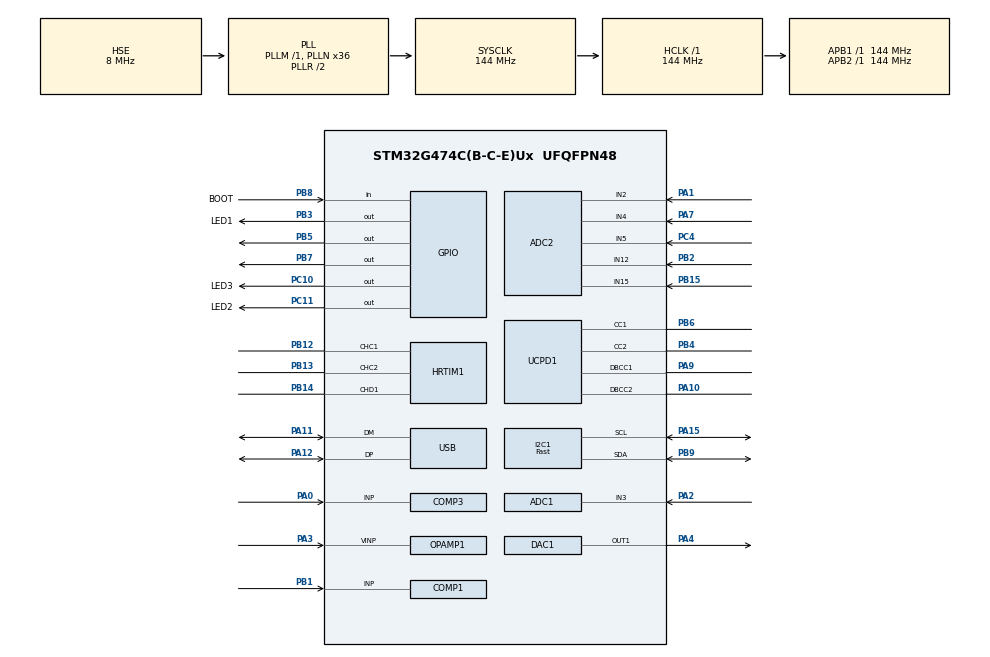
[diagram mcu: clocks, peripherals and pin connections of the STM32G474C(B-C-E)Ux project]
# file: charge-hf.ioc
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ADC1.Channel-1\#ChannelRegularConversion=ADC_CHANNEL_3
ADC1.ClockPrescaler=ADC_CLOCK_ASYNC_DIV4
ADC1.EnableInjectedConversion=DISABLE
ADC1.NbrOfConversionFlag=1
ADC1.OffsetNumber-1\#ChannelRegularConversion=ADC_OFFSET_NONE
ADC1.Rank-1\#ChannelRegularConversion=1
ADC1.SamplingTime-1\#ChannelRegularConversion=ADC_SAMPLETIME_2CYCLES_5
ADC1.master=1
ADC2.Channel-5\#ChannelRegularConversion=ADC_CHANNEL_2
ADC2.Channel-6\#ChannelRegularConversion=ADC_CHANNEL_12
ADC2.Channel-7\#ChannelRegularConversion=ADC_CHANNEL_15
ADC2.Channel-8\#ChannelRegularConversion=ADC_CHANNEL_4
ADC2.Channel-9\#ChannelRegularConversion=ADC_CHANNEL_5
ADC2.ClockPrescaler=ADC_CLOCK_ASYNC_DIV4
ADC2.ContinuousConvMode=ENABLE
ADC2.DMAContinuousRequests=ENABLE
ADC2.EOCSelection=ADC_EOC_SEQ_CONV
ADC2.EnableInjectedConversion=DISABLE
ADC2.EnableRegularConversion=ENABLE
ADC2.NbrOfConversion=5
ADC2.NbrOfConversionFlag=1
ADC2.OffsetNumber-5\#ChannelRegularConversion=ADC_OFFSET_NONE
ADC2.OffsetNumber-6\#ChannelRegularConversion=ADC_OFFSET_NONE
ADC2.OffsetNumber-7\#ChannelRegularConversion=ADC_OFFSET_NONE
ADC2.OffsetNumber-8\#ChannelRegularConversion=ADC_OFFSET_NONE
ADC2.OffsetNumber-9\#ChannelRegularConversion=ADC_OFFSET_NONE
ADC2.Overrun=ADC_OVR_DATA_OVERWRITTEN
ADC2.Rank-5\#ChannelRegularConversion=1
ADC2.Rank-6\#ChannelRegularConversion=2
ADC2.Rank-7\#ChannelRegularConversion=3
ADC2.Rank-8\#ChannelRegularConversion=4
ADC2.Rank-9\#ChannelRegularConversion=5
ADC2.SamplingTime-5\#ChannelRegularConversion=ADC_SAMPLETIME_47CYCLES_5
ADC2.SamplingTime-6\#ChannelRegularConversion=ADC_SAMPLETIME_47CYCLES_5
ADC2.SamplingTime-7\#ChannelRegularConversion=ADC_SAMPLETIME_47CYCLES_5
ADC2.SamplingTime-8\#ChannelRegularConversion=ADC_SAMPLETIME_47CYCLES_5
ADC2.SamplingTime-9\#ChannelRegularConversion=ADC_SAMPLETIME_47CYCLES_5
Dma.ADC2.0.Direction=DMA_PERIPH_TO_MEMORY
Dma.ADC2.0.EventEnable=DISABLE
Dma.ADC2.0.Instance=DMA1_Channel1
Dma.ADC2.0.MemDataAlignment=DMA_MDATAALIGN_HALFWORD
Dma.ADC2.0.MemInc=DMA_MINC_ENABLE
Dma.ADC2.0.Mode=DMA_CIRCULAR
Dma.ADC2.0.PeriphDataAlignment=DMA_PDATAALIGN_HALFWORD
Dma.ADC2.0.PeriphInc=DMA_PINC_DISABLE
Dma.ADC2.0.Polarity=HAL_DMAMUX_REQ_GEN_RISING
Dma.ADC2.0.Priority=DMA_PRIORITY_MEDIUM
Dma.ADC2.0.RequestNumber=1
Dma.ADC2.0.SignalID=NONE
Dma.ADC2.0.SyncEnable=DISABLE
Dma.ADC2.0.SyncPolarity=HAL_DMAMUX_SYNC_NO_EVENT
Dma.ADC2.0.SyncRequestNumber=1
Dma.ADC2.0.SyncSignalID=NONE
Dma.Request0=ADC2
HRTIM1.ADCTrigger1_Source1=HRTIM_ADCTRIGGEREVENT13_TIMERD_CMP3
HRTIM1.ADCTrigger2_Source1=HRTIM_ADCTRIGGEREVENT24_TIMERD_CMP2
HRTIM1.ADCTrigger_Id1=__NULL
HRTIM1.ADCTrigger_Id2=__NULL
HRTIM1.CompareUnit1-Output_TC1TC2=HRTIM_COMPAREUNIT_1
HRTIM1.CompareUnit1-Output_TD1=HRTIM_COMPAREUNIT_1
HRTIM1.CompareUnit2-Output_TD1=__NULL
HRTIM1.CompareUnit3-Output_TD1=__NULL
HRTIM1.CompareValue1-Output_TC1TC2=HF_PERIOD/2
HRTIM1.CompareValue1-Output_TD1=0
HRTIM1.CompareValue2-Output_TD1=127
HRTIM1.CompareValue3-Output_TD1=1023
HRTIM1.Configuration_TC=Waveform
HRTIM1.Configuration_TD=Waveform
HRTIM1.DeadTimeInsertion-Output_TC1TC2=HRTIM_TIMDEADTIMEINSERTION_ENABLED
HRTIM1.Event_EEV1=__NULL
HRTIM1.FallingSignLock-Output_TC1TC2=HRTIM_TIMDEADTIME_FALLINGSIGNLOCK_READONLY
HRTIM1.FallingValue-Output_TC1TC2=hf.DTfalling
HRTIM1.NumberADCTriggerSource1=1
HRTIM1.NumberADCTriggerSource2=1
HRTIM1.NumberResetSource1-Output_TC1TC2=1
HRTIM1.NumberResetSource1-Output_TD1=1
HRTIM1.NumberResetSource2_TC=0
HRTIM1.NumberSetSource1-Output_TC1TC2=1
HRTIM1.NumberSetSource1-Output_TD1=1
HRTIM1.NumberSetSource2_TC=0
HRTIM1.OCChannel_TC1=__NULL
HRTIM1.ORingUpdateSource_ADCTrigger1=HRTIM_ADCTRIGGERUPDATE_TIMER_D
HRTIM1.ORingUpdateSource_ADCTrigger2=HRTIM_ADCTRIGGERUPDATE_TIMER_D
HRTIM1.PWMChannel_TC1=HRTIM_OUTPUT_TC1
HRTIM1.PWMChannel_TC2=HRTIM_OUTPUT_TC2
HRTIM1.PWMChannel_TD1=HRTIM_OUTPUT_TD1
HRTIM1.PWMPulse_TD1=127
HRTIM1.Periode_TC=(144000*32) / (uint32_t)(hf.freq / 1000)
HRTIM1.Periode_TD=SEPIC_PERIOD
HRTIM1.Polarity1-Output_TC1TC2=HRTIM_OUTPUTPOLARITY_HIGH
HRTIM1.Polarity2-Output_TC1TC2=HRTIM_OUTPUTPOLARITY_HIGH
HRTIM1.PreloadEnable-Output_TC1TC2=HRTIM_PRELOAD_ENABLED
HRTIM1.PreloadEnable-Output_TD1=HRTIM_PRELOAD_ENABLED
HRTIM1.PrescalerRatio_TC=HRTIM_PRESCALERRATIO_MUL32
HRTIM1.RepetitionCounter-Output_TD1=127
HRTIM1.RepetitionUpdate-Output_TC1TC2=HRTIM_UPDATEONREPETITION_ENABLED
HRTIM1.RepetitionUpdate-Output_TD1=HRTIM_UPDATEONREPETITION_ENABLED
HRTIM1.ResetOutput1_Source1-Output_TC1TC2=HRTIM_OUTPUTRESET_TIMPER
HRTIM1.ResetOutput1_Source1-Output_TD1=HRTIM_OUTPUTRESET_TIMCMP1
HRTIM1.ResetOutput2_Source1-Output_TC1TC2=HRTIM_OUTPUTRESET_TIMCMP1
HRTIM1.RisingSignLock-Output_TC1TC2=HRTIM_TIMDEADTIME_RISINGSIGNLOCK_READONLY
HRTIM1.RisingValue-Output_TC1TC2=hf.DTrising
HRTIM1.SetOutput1_Source1-Output_TC1TC2=HRTIM_OUTPUTSET_TIMCMP1
HRTIM1.SetOutput1_Source1-Output_TD1=HRTIM_OUTPUTSET_TIMPER
HRTIM1.SetOutput2_Source1-Output_TC1TC2=HRTIM_OUTPUTSET_TIMPER
I2C1.I2C_Speed_Mode=I2C_Fast
I2C1.Timing=0x00E057FD
Mcu.Family=STM32G4
Mcu.Name=STM32G474C(B-C-E)Ux
Mcu.Package=UFQFPN48
NVIC.DMA1_Channel1_IRQn=true\:0\:0\:false\:false\:true\:false\:true
NVIC.HRTIM1_TIMD_IRQn=true\:0\:0\:false\:false\:true\:true\:true
NVIC.PriorityGroup=NVIC_PRIORITYGROUP_4
OPAMP1.PgaGain=OPAMP_PGA_GAIN_16_OR_MINUS_15
OPAMP1.PowerMode=OPAMP_POWERMODE_HIGHSPEED
PA0.Mode=INP
PA0.Signal=COMP3_INP
PA1.Mode=IN2-Single-Ended
PA1.Signal=ADC2_IN2
PA10.Mode=EnableDeadBattery
PA10.Signal=UCPD1_DBCC2
PA11.Mode=Device
PA11.Signal=USB_DM
PA12.Mode=Device
PA12.Signal=USB_DP
PA13.Mode=Serial_Wire
PA13.Signal=SYS_JTMS-SWDIO
PA14.Mode=Serial_Wire
PA14.Signal=SYS_JTCK-SWCLK
PA15.Mode=I2C
PA15.Signal=I2C1_SCL
PA2.Mode=IN3-Single-Ended
PA2.Signal=ADC1_IN3
PA3.Mode=PGA_Internally_Connected
PA3.Signal=OPAMP1_VINP
PA4.Signal=COMP_DAC11_group
PA7.Mode=IN4-Single-Ended
PA7.Signal=ADC2_IN4
PA9.Mode=EnableDeadBattery
PA9.Signal=UCPD1_DBCC1
PB1.Mode=INP
PB1.Signal=COMP1_INP
PB12.Mode=Output_TC1TC2
PB12.Signal=HRTIM1_CHC1
PB13.Mode=Output_TC1TC2
PB13.Signal=HRTIM1_CHC2
PB14.Mode=Output_TD1
PB14.Signal=HRTIM1_CHD1
PB15.Mode=IN15-Single-Ended
PB15.Signal=ADC2_IN15
PB2.Mode=IN12-Single-Ended
PB2.Signal=ADC2_IN12
PB3.GPIO_Label=LED1
PB3.Signal=GPIO_Output
PB4.Mode=Sink_AllSignals
PB4.Signal=UCPD1_CC2
PB5.Signal=GPIO_Output
PB6.Mode=Sink_AllSignals
PB6.Signal=UCPD1_CC1
PB7.Signal=GPIO_Output
PB8-BOOT0.GPIO_Label=BOOT
PB8-BOOT0.Signal=GPIO_Input
PB9.Mode=I2C
PB9.Signal=I2C1_SDA
PC10.GPIO_Label=LED3
PC10.Signal=GPIO_Output
PC11.GPIO_Label=LED2
PC11.Signal=GPIO_Output
PC4.Mode=IN5-Single-Ended
PC4.Signal=ADC2_IN5
PF0-OSC_IN.Mode=HSE-External-Oscillator
PF0-OSC_IN.Signal=RCC_OSC_IN
PF1-OSC_OUT.Mode=HSE-External-Oscillator
PF1-OSC_OUT.Signal=RCC_OSC_OUT
ProjectManager.HeapSize=0x200
ProjectManager.StackSize=0x400
ProjectManager.TargetToolchain=Makefile
RCC.ADC12Freq_Value=144000000
RCC.ADC345Freq_Value=144000000
RCC.AHBFreq_Value=144000000
RCC.APB1Freq_Value=144000000
RCC.APB1TimFreq_Value=144000000
RCC.APB2Freq_Value=144000000
RCC.APB2TimFreq_Value=144000000
RCC.CortexFreq_Value=144000000
RCC.EXTERNAL_CLOCK_VALUE=12288000
RCC.HCLKFreq_Value=144000000
RCC.HSE_VALUE=8000000
RCC.HSI48_VALUE=48000000
RCC.HSI_VALUE=16000000
RCC.LSE_VALUE=32768
RCC.PLLN=36
RCC.PLLQ=RCC_PLLQ_DIV6
RCC.PLLSourceVirtual=RCC_PLLSOURCE_HSE
RCC.SYSCLKFreq_VALUE=144000000
RCC.SYSCLKSource=RCC_SYSCLKSOURCE_PLLCLK
RCC.USBFreq_Value=48000000
RCC.VCOOutputFreq_Value=288000000
SH.COMP_DAC11_group.0=DAC1_OUT1,DAC_OUT1_ExtAndInt
VP_ADC1_OPAMP_INTERNAL1.Mode=IN-OPAMP1
VP_COMP1_VS_DAC1OUT1.Mode=INM_DAC1OUT1
VP_COMP3_VS_DAC3OUT1.Mode=INM_DAC3OUT1
VP_DAC3_VS_DACI1.Mode=DAC_OUT1_Int
VP_SYS_VS_DBSignals.Mode=DisableDeadBatterySignals
VREF+.Mode=InternalMode
VREF+.Signal=VREFBUF_OUT
board=custom

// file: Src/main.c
/* USER CODE BEGIN Header */
/**
  ******************************************************************************
  * @file           : main.c
  * @brief          : Main program body
  ******************************************************************************
  * @attention
  *
  * <h2><center>&copy; Copyright (c) 2021 STMicroelectronics.
  * All rights reserved.</center></h2>
  *
  * This software component is licensed by ST under BSD 3-Clause license,
  * the "License"; You may not use this file except in compliance with the
  * License. You may obtain a copy of the License at:
  *                        opensource.org/licenses/BSD-3-Clause
  *
  ******************************************************************************
  */
/* USER CODE END Header */

#include "main.h"

/* USER CODE BEGIN Includes */
#include "stm32g4xx_ll_hrtim.h"
#include <stdio.h>
#include <stdlib.h>
#include <string.h>
#include "usb_device.h"
/* USER CODE END Includes */

ADC_HandleTypeDef hadc1;
ADC_HandleTypeDef hadc2;
DMA_HandleTypeDef hdma_adc2;

COMP_HandleTypeDef hcomp1;
COMP_HandleTypeDef hcomp3;

DAC_HandleTypeDef hdac1;
DAC_HandleTypeDef hdac3;

HRTIM_HandleTypeDef hhrtim1;

I2C_HandleTypeDef hi2c1;

OPAMP_HandleTypeDef hopamp1;

PCD_HandleTypeDef hpcd_USB_FS;

/* USER CODE BEGIN PV */
/* SCPI bbuffer */
extern uint8_t UserRxBufferFS[APP_RX_DATA_SIZE];
extern uint8_t UserTxBufferFS[APP_TX_DATA_SIZE];
uint8_t is_new_data_ready;
uint16_t new_data_length;

volatile sepic_control_t sepic = {
  .Vset = 5.0, // 5V amplifier supply
  .Iset = 2.0  // 3A USB current limit
};

volatile knobs_t knobs;

volatile hf_control_t hf = {
  .freq = 6780000,  // 6.78 MHz
  .DTrising = 16, // rising deadtime, 0 - 511
  .DTfalling = 16 // falling deadtime, 0 - 511
};

uint16_t adc2_regular_buf[6];

/* USER CODE END PV */

void SystemClock_Config(void);
static void MX_GPIO_Init(void);
static void MX_DMA_Init(void);
static void MX_ADC1_Init(void);
static void MX_ADC2_Init(void);
static void MX_COMP1_Init(void);
static void MX_COMP3_Init(void);
static void MX_DAC1_Init(void);
static void MX_DAC3_Init(void);
static void MX_HRTIM1_Init(void);
static void MX_I2C1_Init(void);
static void MX_OPAMP1_Init(void);
static void MX_UCPD1_Init(void);
static void MX_USB_PCD_Init(void);

/* USER CODE BEGIN 0 */
void HAL_HRTIM_RepetitionEventCallback(HRTIM_HandleTypeDef * hhrtim, uint32_t TimerIdx) {
  if (TimerIdx == HRTIM_TIMERINDEX_TIMER_D) {
    //sepic.Icycle = (adc2_regular_buf[0] * VDDA)/0xFFF;
    //sepic.Icycle = sepic.Icycle / (0.01 * 64.0); // 10m sense, OPAMP2 64 Gain

    sepic.Vout = (adc2_regular_buf[0] * VDDA)/0xFFF;
    sepic.Vout = (sepic.Vout / (5100.0 / (100000.0 + 5100.0))) * 1.207; // 100k by 5k1 divider

    sepic.Iin = (adc2_regular_buf[1] * VDDA)/0xFFF;
    sepic.Iin = sepic.Iin / (0.01 * (2000.0 / 33.0)); // Si8540, 10m sense, 2k Rout, 33R Rg

    sepic.Vin = (adc2_regular_buf[2] * VDDA)/0xFFF;
    sepic.Vin = sepic.Vin / (5100.0 / (5100.0 + 5100.0)); // 5k1 by 5k1 divider

    float PID_I = 2.2;

    if (sepic.Iin < sepic.Iset) {
      sepic.error += (sepic.Vset - sepic.Vout) * PID_I;
    } else {
      sepic.error += (sepic.Iset - sepic.Iin) * 1000.0;
    }

    if (sepic.error < 0) {
      sepic.error = 0;
    } else if (sepic.error > 16000) {
      sepic.error = 16000;
    }
    uint32_t compare = sepic.error + 100;
    //if (sepic.Iin > sepic.Iset) {
    //  LL_HRTIM_TIM_SetCompare1(HRTIM1, LL_HRTIM_TIMER_D, 100);
    //} else
    if (compare < (SEPIC_PERIOD * 0.9f) && compare > 100) {
      LL_HRTIM_TIM_SetCompare1(HRTIM1, LL_HRTIM_TIMER_D, compare);
    }
  }
}

/* USER CODE END 0 */

int main(void)
{

  /* MCU Configuration--------------------------------------------------------*/

  /* Reset of all peripherals, Initializes the Flash interface and the Systick. */
  HAL_Init();

  /* Configure the system clock */
  SystemClock_Config();

  /* Initialize all configured peripherals */
  MX_GPIO_Init();
  MX_DMA_Init();
  MX_ADC1_Init();
  MX_ADC2_Init();
  MX_COMP1_Init();
  MX_COMP3_Init();
  MX_DAC1_Init();
  MX_DAC3_Init();
  MX_HRTIM1_Init();
  MX_I2C1_Init();
  MX_OPAMP1_Init();
  MX_UCPD1_Init();
  MX_USB_PCD_Init();
  /* USER CODE BEGIN 2 */
  MX_USB_Device_Init();

  SCPI_Init(&scpi_context,
      scpi_commands,
      &scpi_interface,
      scpi_units_def,
      SCPI_IDN1, SCPI_IDN2, SCPI_IDN3, SCPI_IDN4,
      scpi_input_buffer, SCPI_INPUT_BUFFER_LENGTH,
      scpi_error_queue_data, SCPI_ERROR_QUEUE_SIZE);

  /* Run the ADC2 calibration in single-ended mode */
  HAL_ADCEx_Calibration_Start(&hadc2, ADC_SINGLE_ENDED);

  /* Start ADC2 Injected Conversions */
  HAL_ADCEx_InjectedStart(&hadc2);

  /* HRTIM start-up */
  /* Enable HRTIM's outputs TC1, TC2 and TD1 */
  LL_HRTIM_EnableOutput(HRTIM1,
                          LL_HRTIM_OUTPUT_TC1
                        | LL_HRTIM_OUTPUT_TC2
                        | LL_HRTIM_OUTPUT_TD1);

  //LL_HRTIM_EnableIT_REP(HRTIM1, LL_HRTIM_TIMER_C);
  LL_HRTIM_EnableIT_REP(HRTIM1, LL_HRTIM_TIMER_D);
  LL_HRTIM_TIM_CounterEnable(HRTIM1, LL_HRTIM_TIMER_C);
  LL_HRTIM_TIM_CounterEnable(HRTIM1, LL_HRTIM_TIMER_D);

  //LL_HRTIM_TIM_SetCompare1(HRTIM1, LL_HRTIM_TIMER_D, SEPIC_PERIOD/2);

  HAL_ADC_Start_DMA(&hadc2, (uint32_t *)adc2_regular_buf, 5);

  /* USER CODE END 2 */

  /* Infinite loop */
  /* USER CODE BEGIN WHILE */

  HAL_GPIO_WritePin(LED3_GPIO_Port, LED3_Pin, 1);
  uint32_t i = 0;
  while (1)
  {
    i++;
    if (i % 100000 == 0) {
      knobs.knob1 = (adc2_regular_buf[3] * VDDA)/0xFFF;
      knobs.knob2 = (adc2_regular_buf[4] * VDDA)/0xFFF;
    }

    if (i % 1000000 == 0) {
      HAL_GPIO_TogglePin(LED2_GPIO_Port, LED2_Pin);
    }
    /* USER CODE END WHILE */

    /* USER CODE BEGIN 3 */
    if (is_new_data_ready) {
      SCPI_Input(&scpi_context, UserRxBufferFS, new_data_length);
      is_new_data_ready = 0;
    }
  }
  /* USER CODE END 3 */
}

void SystemClock_Config(void)
{
  RCC_OscInitTypeDef RCC_OscInitStruct = {0};
  RCC_ClkInitTypeDef RCC_ClkInitStruct = {0};
  RCC_PeriphCLKInitTypeDef PeriphClkInit = {0};

  /** Configure the main internal regulator output voltage
  */
  HAL_PWREx_ControlVoltageScaling(PWR_REGULATOR_VOLTAGE_SCALE1);
  /** Initializes the CPU, AHB and APB busses clocks
  */
  RCC_OscInitStruct.OscillatorType = RCC_OSCILLATORTYPE_HSE;
  RCC_OscInitStruct.HSEState = RCC_HSE_ON;
  RCC_OscInitStruct.PLL.PLLState = RCC_PLL_ON;
  RCC_OscInitStruct.PLL.PLLSource = RCC_PLLSOURCE_HSE;
  RCC_OscInitStruct.PLL.PLLM = RCC_PLLM_DIV1;
  RCC_OscInitStruct.PLL.PLLN = 36;
  RCC_OscInitStruct.PLL.PLLP = RCC_PLLP_DIV2;
  RCC_OscInitStruct.PLL.PLLQ = RCC_PLLQ_DIV6;
  RCC_OscInitStruct.PLL.PLLR = RCC_PLLR_DIV2;
  if (HAL_RCC_OscConfig(&RCC_OscInitStruct) != HAL_OK)
  {
    Error_Handler();
  }
  /** Initializes the CPU, AHB and APB busses clocks
  */
  RCC_ClkInitStruct.ClockType = RCC_CLOCKTYPE_HCLK|RCC_CLOCKTYPE_SYSCLK
                              |RCC_CLOCKTYPE_PCLK1|RCC_CLOCKTYPE_PCLK2;
  RCC_ClkInitStruct.SYSCLKSource = RCC_SYSCLKSOURCE_PLLCLK;
  RCC_ClkInitStruct.AHBCLKDivider = RCC_SYSCLK_DIV1;
  RCC_ClkInitStruct.APB1CLKDivider = RCC_HCLK_DIV1;
  RCC_ClkInitStruct.APB2CLKDivider = RCC_HCLK_DIV1;

  if (HAL_RCC_ClockConfig(&RCC_ClkInitStruct, FLASH_LATENCY_7) != HAL_OK)
  {
    Error_Handler();
  }
  /** Initializes the peripherals clocks
  */
  PeriphClkInit.PeriphClockSelection = RCC_PERIPHCLK_I2C1|RCC_PERIPHCLK_USB
                              |RCC_PERIPHCLK_ADC12;
  PeriphClkInit.I2c1ClockSelection = RCC_I2C1CLKSOURCE_PCLK1;
  PeriphClkInit.UsbClockSelection = RCC_USBCLKSOURCE_PLL;
  PeriphClkInit.Adc12ClockSelection = RCC_ADC12CLKSOURCE_SYSCLK;
  if (HAL_RCCEx_PeriphCLKConfig(&PeriphClkInit) != HAL_OK)
  {
    Error_Handler();
  }
}

static void MX_ADC1_Init(void)
{

  ADC_MultiModeTypeDef multimode = {0};
  ADC_ChannelConfTypeDef sConfig = {0};

  /** Common config
  */
  hadc1.Instance = ADC1;
  hadc1.Init.ClockPrescaler = ADC_CLOCK_ASYNC_DIV1;
  hadc1.Init.Resolution = ADC_RESOLUTION_12B;
  hadc1.Init.DataAlign = ADC_DATAALIGN_RIGHT;
  hadc1.Init.GainCompensation = 0;
  hadc1.Init.ScanConvMode = ADC_SCAN_DISABLE;
  hadc1.Init.EOCSelection = ADC_EOC_SINGLE_CONV;
  hadc1.Init.LowPowerAutoWait = DISABLE;
  hadc1.Init.ContinuousConvMode = DISABLE;
  hadc1.Init.NbrOfConversion = 1;
  hadc1.Init.DiscontinuousConvMode = DISABLE;
  hadc1.Init.ExternalTrigConv = ADC_SOFTWARE_START;
  hadc1.Init.ExternalTrigConvEdge = ADC_EXTERNALTRIGCONVEDGE_NONE;
  hadc1.Init.DMAContinuousRequests = DISABLE;
  hadc1.Init.Overrun = ADC_OVR_DATA_PRESERVED;
  hadc1.Init.OversamplingMode = DISABLE;
  if (HAL_ADC_Init(&hadc1) != HAL_OK)
  {
    Error_Handler();
  }
  /** Configure the ADC multi-mode
  */
  multimode.Mode = ADC_MODE_INDEPENDENT;
  if (HAL_ADCEx_MultiModeConfigChannel(&hadc1, &multimode) != HAL_OK)
  {
    Error_Handler();
  }
  /** Configure Regular Channel
  */
  sConfig.Channel = ADC_CHANNEL_3;
  sConfig.Rank = ADC_REGULAR_RANK_1;
  sConfig.SamplingTime = ADC_SAMPLETIME_2CYCLES_5;
  sConfig.SingleDiff = ADC_SINGLE_ENDED;
  sConfig.OffsetNumber = ADC_OFFSET_NONE;
  sConfig.Offset = 0;
  if (HAL_ADC_ConfigChannel(&hadc1, &sConfig) != HAL_OK)
  {
    Error_Handler();
  }

}

static void MX_ADC2_Init(void)
{

  ADC_ChannelConfTypeDef sConfig = {0};

  /** Common config
  */
  hadc2.Instance = ADC2;
  hadc2.Init.ClockPrescaler = ADC_CLOCK_ASYNC_DIV4;
  hadc2.Init.Resolution = ADC_RESOLUTION_12B;
  hadc2.Init.DataAlign = ADC_DATAALIGN_RIGHT;
  hadc2.Init.GainCompensation = 0;
  hadc2.Init.ScanConvMode = ADC_SCAN_ENABLE;
  hadc2.Init.EOCSelection = ADC_EOC_SEQ_CONV;
  hadc2.Init.LowPowerAutoWait = DISABLE;
  hadc2.Init.ContinuousConvMode = ENABLE;
  hadc2.Init.NbrOfConversion = 5;
  hadc2.Init.DiscontinuousConvMode = DISABLE;
  hadc2.Init.ExternalTrigConv = ADC_SOFTWARE_START;
  hadc2.Init.ExternalTrigConvEdge = ADC_EXTERNALTRIGCONVEDGE_NONE;
  hadc2.Init.DMAContinuousRequests = ENABLE;
  hadc2.Init.Overrun = ADC_OVR_DATA_OVERWRITTEN;
  hadc2.Init.OversamplingMode = DISABLE;
  if (HAL_ADC_Init(&hadc2) != HAL_OK)
  {
    Error_Handler();
  }
  /** Configure Regular Channel
  */
  sConfig.Channel = ADC_CHANNEL_2;
  sConfig.Rank = ADC_REGULAR_RANK_1;
  sConfig.SamplingTime = ADC_SAMPLETIME_47CYCLES_5;
  sConfig.SingleDiff = ADC_SINGLE_ENDED;
  sConfig.OffsetNumber = ADC_OFFSET_NONE;
  sConfig.Offset = 0;
  if (HAL_ADC_ConfigChannel(&hadc2, &sConfig) != HAL_OK)
  {
    Error_Handler();
  }
  /** Configure Regular Channel
  */
  sConfig.Channel = ADC_CHANNEL_12;
  sConfig.Rank = ADC_REGULAR_RANK_2;
  if (HAL_ADC_ConfigChannel(&hadc2, &sConfig) != HAL_OK)
  {
    Error_Handler();
  }
  /** Configure Regular Channel
  */
  sConfig.Channel = ADC_CHANNEL_15;
  sConfig.Rank = ADC_REGULAR_RANK_3;
  if (HAL_ADC_ConfigChannel(&hadc2, &sConfig) != HAL_OK)
  {
    Error_Handler();
  }
  /** Configure Regular Channel
  */
  sConfig.Channel = ADC_CHANNEL_4;
  sConfig.Rank = ADC_REGULAR_RANK_4;
  if (HAL_ADC_ConfigChannel(&hadc2, &sConfig) != HAL_OK)
  {
    Error_Handler();
  }
  /** Configure Regular Channel
  */
  sConfig.Channel = ADC_CHANNEL_5;
  sConfig.Rank = ADC_REGULAR_RANK_5;
  if (HAL_ADC_ConfigChannel(&hadc2, &sConfig) != HAL_OK)
  {
    Error_Handler();
  }

}

static void MX_COMP1_Init(void)
{

  hcomp1.Instance = COMP1;
  hcomp1.Init.InputPlus = COMP_INPUT_PLUS_IO2;
  hcomp1.Init.InputMinus = COMP_INPUT_MINUS_DAC1_CH1;
  hcomp1.Init.OutputPol = COMP_OUTPUTPOL_NONINVERTED;
  hcomp1.Init.Hysteresis = COMP_HYSTERESIS_NONE;
  hcomp1.Init.BlankingSrce = COMP_BLANKINGSRC_NONE;
  hcomp1.Init.TriggerMode = COMP_TRIGGERMODE_NONE;
  if (HAL_COMP_Init(&hcomp1) != HAL_OK)
  {
    Error_Handler();
  }

}

static void MX_COMP3_Init(void)
{

  hcomp3.Instance = COMP3;
  hcomp3.Init.InputPlus = COMP_INPUT_PLUS_IO1;
  hcomp3.Init.InputMinus = COMP_INPUT_MINUS_DAC3_CH1;
  hcomp3.Init.OutputPol = COMP_OUTPUTPOL_NONINVERTED;
  hcomp3.Init.Hysteresis = COMP_HYSTERESIS_NONE;
  hcomp3.Init.BlankingSrce = COMP_BLANKINGSRC_NONE;
  hcomp3.Init.TriggerMode = COMP_TRIGGERMODE_NONE;
  if (HAL_COMP_Init(&hcomp3) != HAL_OK)
  {
    Error_Handler();
  }

}

static void MX_DAC1_Init(void)
{

  DAC_ChannelConfTypeDef sConfig = {0};

  /** DAC Initialization
  */
  hdac1.Instance = DAC1;
  if (HAL_DAC_Init(&hdac1) != HAL_OK)
  {
    Error_Handler();
  }
  /** DAC channel OUT1 config
  */
  sConfig.DAC_HighFrequency = DAC_HIGH_FREQUENCY_INTERFACE_MODE_AUTOMATIC;
  sConfig.DAC_DMADoubleDataMode = DISABLE;
  sConfig.DAC_SignedFormat = DISABLE;
  sConfig.DAC_SampleAndHold = DAC_SAMPLEANDHOLD_DISABLE;
  sConfig.DAC_Trigger = DAC_TRIGGER_NONE;
  sConfig.DAC_Trigger2 = DAC_TRIGGER_NONE;
  sConfig.DAC_OutputBuffer = DAC_OUTPUTBUFFER_ENABLE;
  sConfig.DAC_ConnectOnChipPeripheral = DAC_CHIPCONNECT_ENABLE;
  sConfig.DAC_UserTrimming = DAC_TRIMMING_FACTORY;
  if (HAL_DAC_ConfigChannel(&hdac1, &sConfig, DAC_CHANNEL_1) != HAL_OK)
  {
    Error_Handler();
  }

}

static void MX_DAC3_Init(void)
{

  DAC_ChannelConfTypeDef sConfig = {0};

  /** DAC Initialization
  */
  hdac3.Instance = DAC3;
  if (HAL_DAC_Init(&hdac3) != HAL_OK)
  {
    Error_Handler();
  }
  /** DAC channel OUT1 config
  */
  sConfig.DAC_HighFrequency = DAC_HIGH_FREQUENCY_INTERFACE_MODE_AUTOMATIC;
  sConfig.DAC_DMADoubleDataMode = DISABLE;
  sConfig.DAC_SignedFormat = DISABLE;
  sConfig.DAC_SampleAndHold = DAC_SAMPLEANDHOLD_DISABLE;
  sConfig.DAC_Trigger = DAC_TRIGGER_NONE;
  sConfig.DAC_Trigger2 = DAC_TRIGGER_NONE;
  sConfig.DAC_OutputBuffer = DAC_OUTPUTBUFFER_DISABLE;
  sConfig.DAC_ConnectOnChipPeripheral = DAC_CHIPCONNECT_ENABLE;
  sConfig.DAC_UserTrimming = DAC_TRIMMING_FACTORY;
  if (HAL_DAC_ConfigChannel(&hdac3, &sConfig, DAC_CHANNEL_1) != HAL_OK)
  {
    Error_Handler();
  }

}

static void MX_HRTIM1_Init(void)
{

  HRTIM_TimeBaseCfgTypeDef pTimeBaseCfg = {0};
  HRTIM_TimerCtlTypeDef pTimerCtl = {0};
  HRTIM_TimerCfgTypeDef pTimerCfg = {0};
  HRTIM_CompareCfgTypeDef pCompareCfg = {0};
  HRTIM_DeadTimeCfgTypeDef pDeadTimeCfg = {0};
  HRTIM_OutputCfgTypeDef pOutputCfg = {0};

  hhrtim1.Instance = HRTIM1;
  hhrtim1.Init.HRTIMInterruptResquests = HRTIM_IT_NONE;
  hhrtim1.Init.SyncOptions = HRTIM_SYNCOPTION_NONE;
  if (HAL_HRTIM_Init(&hhrtim1) != HAL_OK)
  {
    Error_Handler();
  }
  if (HAL_HRTIM_DLLCalibrationStart(&hhrtim1, HRTIM_CALIBRATIONRATE_3) != HAL_OK)
  {
    Error_Handler();
  }
  if (HAL_HRTIM_PollForDLLCalibration(&hhrtim1, 10) != HAL_OK)
  {
    Error_Handler();
  }
  pTimeBaseCfg.Period = (144000*32) / (uint32_t)(hf.freq / 1000);
  pTimeBaseCfg.RepetitionCounter = 0x00;
  pTimeBaseCfg.PrescalerRatio = HRTIM_PRESCALERRATIO_MUL32;
  pTimeBaseCfg.Mode = HRTIM_MODE_CONTINUOUS;
  if (HAL_HRTIM_TimeBaseConfig(&hhrtim1, HRTIM_TIMERINDEX_TIMER_C, &pTimeBaseCfg) != HAL_OK)
  {
    Error_Handler();
  }
  pTimerCtl.UpDownMode = HRTIM_TIMERUPDOWNMODE_UP;
  pTimerCtl.GreaterCMP1 = HRTIM_TIMERGTCMP1_EQUAL;
  pTimerCtl.DualChannelDacEnable = HRTIM_TIMER_DCDE_DISABLED;
  if (HAL_HRTIM_WaveformTimerControl(&hhrtim1, HRTIM_TIMERINDEX_TIMER_C, &pTimerCtl) != HAL_OK)
  {
    Error_Handler();
  }
  pTimerCfg.InterruptRequests = HRTIM_TIM_IT_NONE;
  pTimerCfg.DMARequests = HRTIM_TIM_DMA_NONE;
  pTimerCfg.DMASrcAddress = 0x0000;
  pTimerCfg.DMADstAddress = 0x0000;
  pTimerCfg.DMASize = 0x1;
  pTimerCfg.HalfModeEnable = HRTIM_HALFMODE_DISABLED;
  pTimerCfg.InterleavedMode = HRTIM_INTERLEAVED_MODE_DISABLED;
  pTimerCfg.StartOnSync = HRTIM_SYNCSTART_DISABLED;
  pTimerCfg.ResetOnSync = HRTIM_SYNCRESET_DISABLED;
  pTimerCfg.DACSynchro = HRTIM_DACSYNC_NONE;
  pTimerCfg.PreloadEnable = HRTIM_PRELOAD_ENABLED;
  pTimerCfg.UpdateGating = HRTIM_UPDATEGATING_INDEPENDENT;
  pTimerCfg.BurstMode = HRTIM_TIMERBURSTMODE_MAINTAINCLOCK;
  pTimerCfg.RepetitionUpdate = HRTIM_UPDATEONREPETITION_ENABLED;
  pTimerCfg.PushPull = HRTIM_TIMPUSHPULLMODE_DISABLED;
  pTimerCfg.FaultEnable = HRTIM_TIMFAULTENABLE_NONE;
  pTimerCfg.FaultLock = HRTIM_TIMFAULTLOCK_READWRITE;
  pTimerCfg.DeadTimeInsertion = HRTIM_TIMDEADTIMEINSERTION_ENABLED;
  pTimerCfg.DelayedProtectionMode = HRTIM_TIMER_A_B_C_DELAYEDPROTECTION_DISABLED;
  pTimerCfg.UpdateTrigger = HRTIM_TIMUPDATETRIGGER_NONE;
  pTimerCfg.ResetTrigger = HRTIM_TIMRESETTRIGGER_NONE;
  pTimerCfg.ResetUpdate = HRTIM_TIMUPDATEONRESET_DISABLED;
  pTimerCfg.ReSyncUpdate = HRTIM_TIMERESYNC_UPDATE_UNCONDITIONAL;
  if (HAL_HRTIM_WaveformTimerConfig(&hhrtim1, HRTIM_TIMERINDEX_TIMER_C, &pTimerCfg) != HAL_OK)
  {
    Error_Handler();
  }
  pTimerCfg.DMASrcAddress = 0x0000;
  pTimerCfg.DMADstAddress = 0x0000;
  pTimerCfg.DMASize = 0x1;
  pTimerCfg.DeadTimeInsertion = HRTIM_TIMDEADTIMEINSERTION_DISABLED;
  pTimerCfg.DelayedProtectionMode = HRTIM_TIMER_D_E_DELAYEDPROTECTION_DISABLED;
  if (HAL_HRTIM_WaveformTimerConfig(&hhrtim1, HRTIM_TIMERINDEX_TIMER_D, &pTimerCfg) != HAL_OK)
  {
    Error_Handler();
  }
  pCompareCfg.CompareValue = HF_PERIOD/2;
  if (HAL_HRTIM_WaveformCompareConfig(&hhrtim1, HRTIM_TIMERINDEX_TIMER_C, HRTIM_COMPAREUNIT_1, &pCompareCfg) != HAL_OK)
  {
    Error_Handler();
  }
  pDeadTimeCfg.Prescaler = HRTIM_TIMDEADTIME_PRESCALERRATIO_MUL8;
  pDeadTimeCfg.RisingValue = hf.DTrising;
  pDeadTimeCfg.RisingSign = HRTIM_TIMDEADTIME_RISINGSIGN_POSITIVE;
  pDeadTimeCfg.RisingLock = HRTIM_TIMDEADTIME_RISINGLOCK_WRITE;
  pDeadTimeCfg.RisingSignLock = HRTIM_TIMDEADTIME_RISINGSIGNLOCK_READONLY;
  pDeadTimeCfg.FallingValue = hf.DTfalling;
  pDeadTimeCfg.FallingSign = HRTIM_TIMDEADTIME_FALLINGSIGN_POSITIVE;
  pDeadTimeCfg.FallingLock = HRTIM_TIMDEADTIME_FALLINGLOCK_WRITE;
  pDeadTimeCfg.FallingSignLock = HRTIM_TIMDEADTIME_FALLINGSIGNLOCK_READONLY;
  if (HAL_HRTIM_DeadTimeConfig(&hhrtim1, HRTIM_TIMERINDEX_TIMER_C, &pDeadTimeCfg) != HAL_OK)
  {
    Error_Handler();
  }
  pOutputCfg.Polarity = HRTIM_OUTPUTPOLARITY_HIGH;
  pOutputCfg.SetSource = HRTIM_OUTPUTSET_TIMCMP1;
  pOutputCfg.ResetSource = HRTIM_OUTPUTRESET_TIMPER;
  pOutputCfg.IdleMode = HRTIM_OUTPUTIDLEMODE_NONE;
  pOutputCfg.IdleLevel = HRTIM_OUTPUTIDLELEVEL_INACTIVE;
  pOutputCfg.FaultLevel = HRTIM_OUTPUTFAULTLEVEL_NONE;
  pOutputCfg.ChopperModeEnable = HRTIM_OUTPUTCHOPPERMODE_DISABLED;
  pOutputCfg.BurstModeEntryDelayed = HRTIM_OUTPUTBURSTMODEENTRY_REGULAR;
  if (HAL_HRTIM_WaveformOutputConfig(&hhrtim1, HRTIM_TIMERINDEX_TIMER_C, HRTIM_OUTPUT_TC1, &pOutputCfg) != HAL_OK)
  {
    Error_Handler();
  }
  pOutputCfg.SetSource = HRTIM_OUTPUTSET_TIMPER;
  pOutputCfg.ResetSource = HRTIM_OUTPUTRESET_TIMCMP1;
  if (HAL_HRTIM_WaveformOutputConfig(&hhrtim1, HRTIM_TIMERINDEX_TIMER_D, HRTIM_OUTPUT_TD1, &pOutputCfg) != HAL_OK)
  {
    Error_Handler();
  }
  pOutputCfg.SetSource = HRTIM_OUTPUTSET_NONE;
  pOutputCfg.ResetSource = HRTIM_OUTPUTRESET_NONE;
  if (HAL_HRTIM_WaveformOutputConfig(&hhrtim1, HRTIM_TIMERINDEX_TIMER_C, HRTIM_OUTPUT_TC2, &pOutputCfg) != HAL_OK)
  {
    Error_Handler();
  }
  pTimeBaseCfg.Period = SEPIC_PERIOD;
  pTimeBaseCfg.RepetitionCounter = 127;
  if (HAL_HRTIM_TimeBaseConfig(&hhrtim1, HRTIM_TIMERINDEX_TIMER_D, &pTimeBaseCfg) != HAL_OK)
  {
    Error_Handler();
  }
  if (HAL_HRTIM_WaveformTimerControl(&hhrtim1, HRTIM_TIMERINDEX_TIMER_D, &pTimerCtl) != HAL_OK)
  {
    Error_Handler();
  }
  pCompareCfg.CompareValue = 0;
  if (HAL_HRTIM_WaveformCompareConfig(&hhrtim1, HRTIM_TIMERINDEX_TIMER_D, HRTIM_COMPAREUNIT_1, &pCompareCfg) != HAL_OK)
  {
    Error_Handler();
  }
  HAL_HRTIM_MspPostInit(&hhrtim1);

}

static void MX_I2C1_Init(void)
{

  hi2c1.Instance = I2C1;
  hi2c1.Init.Timing = 0x00E057FD;
  hi2c1.Init.OwnAddress1 = 0;
  hi2c1.Init.AddressingMode = I2C_ADDRESSINGMODE_7BIT;
  hi2c1.Init.DualAddressMode = I2C_DUALADDRESS_DISABLE;
  hi2c1.Init.OwnAddress2 = 0;
  hi2c1.Init.OwnAddress2Masks = I2C_OA2_NOMASK;
  hi2c1.Init.GeneralCallMode = I2C_GENERALCALL_DISABLE;
  hi2c1.Init.NoStretchMode = I2C_NOSTRETCH_DISABLE;
  if (HAL_I2C_Init(&hi2c1) != HAL_OK)
  {
    Error_Handler();
  }
  /** Configure Analogue filter
  */
  if (HAL_I2CEx_ConfigAnalogFilter(&hi2c1, I2C_ANALOGFILTER_ENABLE) != HAL_OK)
  {
    Error_Handler();
  }
  /** Configure Digital filter
  */
  if (HAL_I2CEx_ConfigDigitalFilter(&hi2c1, 0) != HAL_OK)
  {
    Error_Handler();
  }

}

static void MX_OPAMP1_Init(void)
{

  hopamp1.Instance = OPAMP1;
  hopamp1.Init.PowerMode = OPAMP_POWERMODE_HIGHSPEED;
  hopamp1.Init.Mode = OPAMP_PGA_MODE;
  hopamp1.Init.NonInvertingInput = OPAMP_NONINVERTINGINPUT_IO1;
  hopamp1.Init.InternalOutput = ENABLE;
  hopamp1.Init.TimerControlledMuxmode = OPAMP_TIMERCONTROLLEDMUXMODE_DISABLE;
  hopamp1.Init.PgaConnect = OPAMP_PGA_CONNECT_INVERTINGINPUT_IO0;
  hopamp1.Init.PgaGain = OPAMP_PGA_GAIN_16_OR_MINUS_15;
  hopamp1.Init.UserTrimming = OPAMP_TRIMMING_FACTORY;
  if (HAL_OPAMP_Init(&hopamp1) != HAL_OK)
  {
    Error_Handler();
  }

}

static void MX_UCPD1_Init(void)
{

  /* Peripheral clock enable */
  LL_APB1_GRP2_EnableClock(LL_APB1_GRP2_PERIPH_UCPD1);

}

static void MX_USB_PCD_Init(void)
{

  hpcd_USB_FS.Instance = USB;
  hpcd_USB_FS.Init.dev_endpoints = 8;
  hpcd_USB_FS.Init.speed = PCD_SPEED_FULL;
  hpcd_USB_FS.Init.phy_itface = PCD_PHY_EMBEDDED;
  hpcd_USB_FS.Init.Sof_enable = DISABLE;
  hpcd_USB_FS.Init.low_power_enable = DISABLE;
  hpcd_USB_FS.Init.lpm_enable = DISABLE;
  hpcd_USB_FS.Init.battery_charging_enable = DISABLE;
  if (HAL_PCD_Init(&hpcd_USB_FS) != HAL_OK)
  {
    Error_Handler();
  }

}

static void MX_DMA_Init(void)
{

  /* DMA controller clock enable */
  __HAL_RCC_DMAMUX1_CLK_ENABLE();
  __HAL_RCC_DMA1_CLK_ENABLE();

  /* DMA interrupt init */
  /* DMA1_Channel1_IRQn interrupt configuration */
  HAL_NVIC_SetPriority(DMA1_Channel1_IRQn, 0, 0);
  HAL_NVIC_EnableIRQ(DMA1_Channel1_IRQn);

}

static void MX_GPIO_Init(void)
{
  GPIO_InitTypeDef GPIO_InitStruct = {0};

  /* GPIO Ports Clock Enable */
  __HAL_RCC_GPIOF_CLK_ENABLE();
  __HAL_RCC_GPIOA_CLK_ENABLE();
  __HAL_RCC_GPIOC_CLK_ENABLE();
  __HAL_RCC_GPIOB_CLK_ENABLE();

  /*Configure GPIO pin Output Level */
  HAL_GPIO_WritePin(GPIOC, LED3_Pin|LED2_Pin, GPIO_PIN_RESET);

  /*Configure GPIO pin Output Level */
  HAL_GPIO_WritePin(GPIOB, LED1_Pin|GPIO_PIN_5|GPIO_PIN_7, GPIO_PIN_RESET);

  /*Configure GPIO pins : LED3_Pin LED2_Pin */
  GPIO_InitStruct.Pin = LED3_Pin|LED2_Pin;
  GPIO_InitStruct.Mode = GPIO_MODE_OUTPUT_PP;
  GPIO_InitStruct.Pull = GPIO_NOPULL;
  GPIO_InitStruct.Speed = GPIO_SPEED_FREQ_LOW;
  HAL_GPIO_Init(GPIOC, &GPIO_InitStruct);

  /*Configure GPIO pins : LED1_Pin PB5 PB7 */
  GPIO_InitStruct.Pin = LED1_Pin|GPIO_PIN_5|GPIO_PIN_7;
  GPIO_InitStruct.Mode = GPIO_MODE_OUTPUT_PP;
  GPIO_InitStruct.Pull = GPIO_NOPULL;
  GPIO_InitStruct.Speed = GPIO_SPEED_FREQ_LOW;
  HAL_GPIO_Init(GPIOB, &GPIO_InitStruct);

  /*Configure GPIO pin : BOOT_Pin */
  GPIO_InitStruct.Pin = BOOT_Pin;
  GPIO_InitStruct.Mode = GPIO_MODE_INPUT;
  GPIO_InitStruct.Pull = GPIO_NOPULL;
  HAL_GPIO_Init(BOOT_GPIO_Port, &GPIO_InitStruct);

}

void Error_Handler(void)
{
}

/************************ (C) COPYRIGHT STMicroelectronics *****END OF FILE****/
